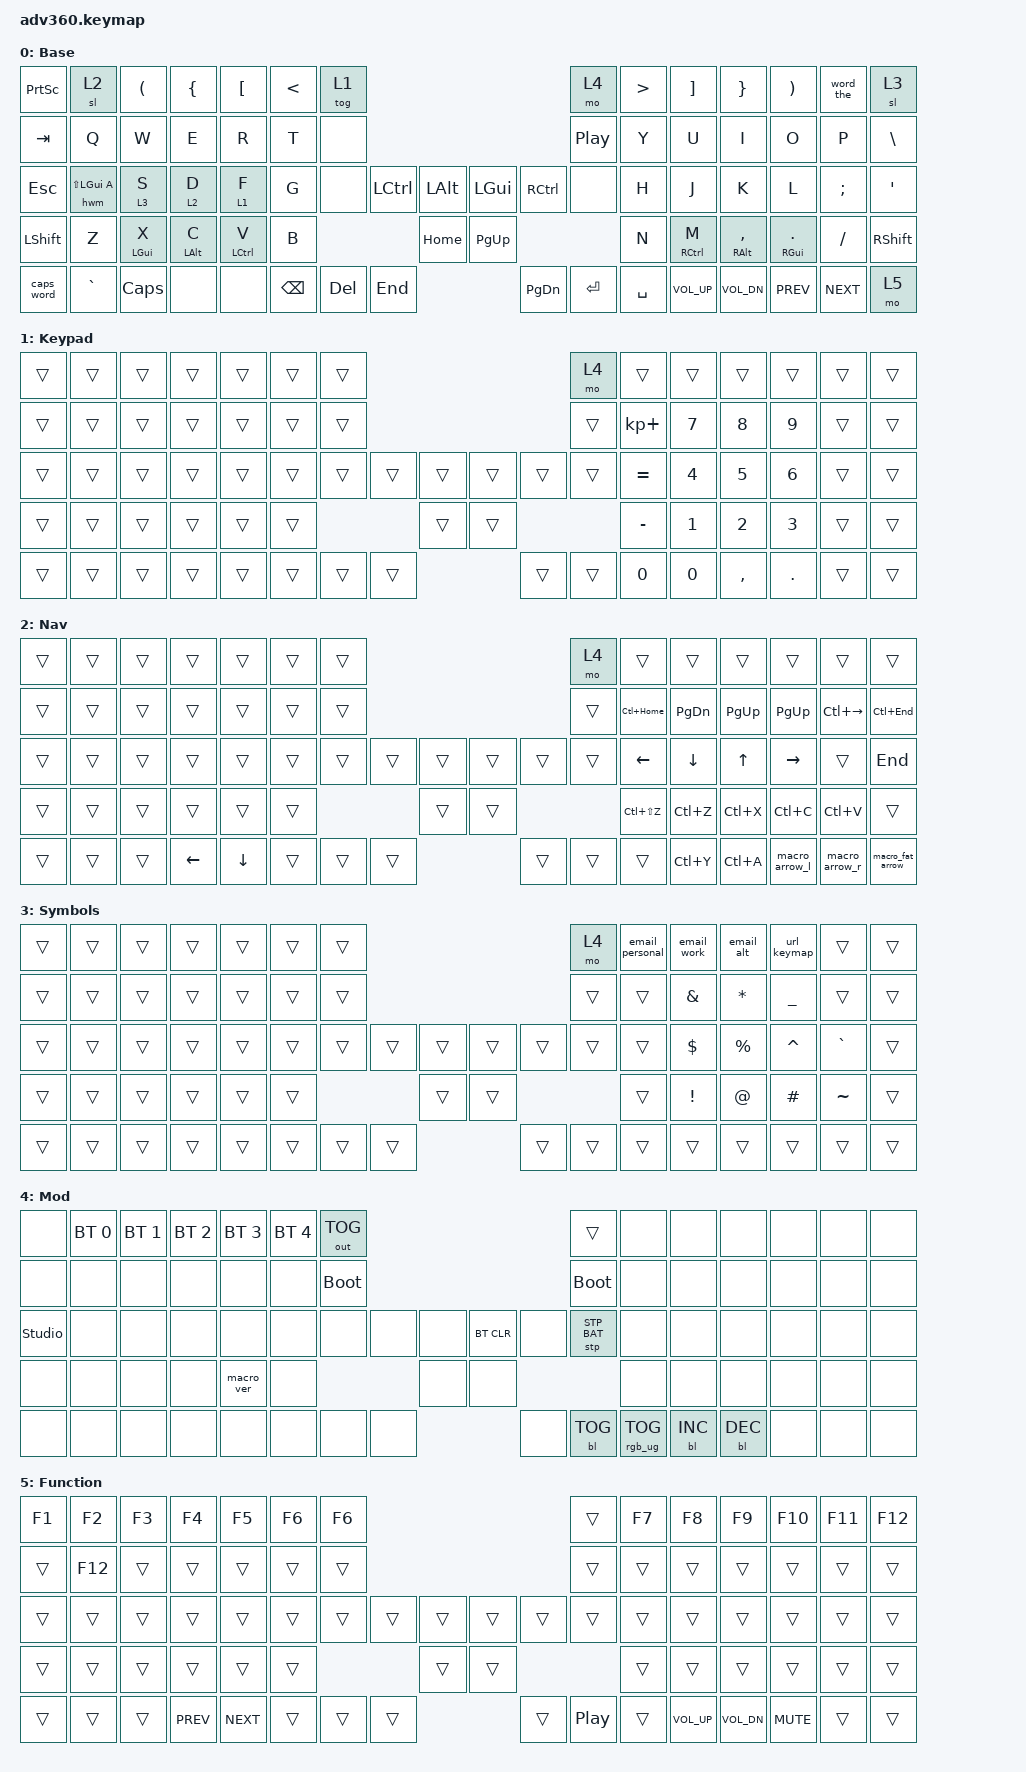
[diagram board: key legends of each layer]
#include "zmk-helpers/helper.h"
#include "zmk-helpers/key-labels/adv360.h"
#include <behaviors.dtsi>
#include <dt-bindings/zmk/outputs.h>
#include <dt-bindings/zmk/keys.h>
#include <dt-bindings/zmk/bt.h>
#include <dt-bindings/zmk/rgb.h>
#include <dt-bindings/zmk/stp.h>
#include <dt-bindings/zmk/backlight.h>
#include <dt-bindings/zmk/pointing.h>
#define KEYS_L LN0 LN1 LN2 LN3 LN4 LN5 LT0 LT1 LT2 LT3 LT4 LT5 LM0 LM1 LM2 LM3 LM4 LM5 LB0 LB1 LB2 LB3 LB4 LB5
#define KEYS_R RN0 RN1 RN2 RN3 RN4 RN5 RT0 RT1 RT2 RT3 RT4 RT5 RM0 RM1 RM2 RM3 RM4 RM5 RB0 RB1 RB2 RB3 RB4 RB5
#define THUMBS LH0 LH1 LH2 RH0 RH1 RH2

ZMK_HOLD_TAP(hml,
    flavor = "balanced";
    tapping-term-ms = <200>;
    quick-tap-ms = <120>;
    retro-tap;
    bindings = <&kp>, <&kp>;
    hold-trigger-key-positions = <KEYS_R THUMBS>;
    hold-trigger-on-release;
)

// Right-hand HRMs
ZMK_HOLD_TAP(hmr,
    flavor = "balanced";
    tapping-term-ms = <200>;
    quick-tap-ms = <120>;
    retro-tap;
    bindings = <&kp>, <&kp>;
    hold-trigger-key-positions = <KEYS_L THUMBS>;
    hold-trigger-on-release;
)

ZMK_HOLD_TAP(ltl,
    flavor = "balanced";
    tapping-term-ms = <200>;
    quick-tap-ms = <120>;
    retro-tap;
    bindings = <&mo>, <&kp>;
    hold-trigger-key-positions = <KEYS_R THUMBS>;
    hold-trigger-on-release;
)

// Super+Shift for Hyprland window moves. Tap gives the letter, hold gives the mods.
// tap-preferred ignores the position of the next key, unlike hml.
// This lets the key pair with the same-hand ltl layer taps on S, D and F.
ZMK_HOLD_TAP(hwm,
    flavor = "tap-preferred";
    tapping-term-ms = <200>;
    quick-tap-ms = <200>;
    bindings = <&kp>, <&kp>;
)

/ {
    behaviors {
      #include "macros.dtsi"
      #include "version.dtsi"

      hm: homerow_mods {
          compatible = "zmk,behavior-hold-tap";
          label = "HOMEROW_MODS";
          #binding-cells = <2>;
          tapping-term-ms = <200>;
          quick_tap_ms = <120>;
          flavor = "tap-preferred";
          bindings = <&kp>, <&kp>;
      };

      lt_s: layer_tap_symbols {
          compatible = "zmk,behavior-hold-tap";
          label = "LAYER_TAP_SYM";
          #binding-cells = <2>;
          tapping-term-ms = <200>;
          quick_tap_ms = <120>;
          flavor = "balanced";
          bindings = <&mo>, <&kp>;
      };

      lt_d: layer_tap_pairs {
          compatible = "zmk,behavior-hold-tap";
          label = "LAYER_TAP_PAIRS";
          #binding-cells = <2>;
          tapping-term-ms = <200>;
          quick_tap_ms = <120>;
          flavor = "balanced";
          bindings = <&mo>, <&kp>;
      };

      lt_f: layer_tap_keypad {
          compatible = "zmk,behavior-hold-tap";
          label = "LAYER_TAP_KEYPAD";
          #binding-cells = <2>;
          tapping-term-ms = <200>;
          quick_tap_ms = <120>;
          flavor = "balanced";
          bindings = <&mo>, <&kp>;
      };
    };

  keymap {
    compatible = "zmk,keymap";

    default_layer {
      display-name = "Base";
      bindings = <
        &kp PSCRN  &sl 2           &kp LPAR    &kp LBRC    &kp LBKT     &kp LT &tog 1                                                           &mo 4    &kp GT   &kp RBKT     &kp RBRC        &kp RPAR      &word_the   &sl 3
        &kp TAB    &kp Q           &kp W       &kp E       &kp R        &kp T  &none                                                            &kp C_PP &kp Y    &kp U        &kp I           &kp O         &kp P       &kp BSLH
        &kp ESC    &hwm LS(LGUI) A &ltl 3 S    &ltl 2 D    &ltl 1 F     &kp G  &none          &kp LCTRL &kp LALT &kp LGUI  &kp RCTRL            &none    &kp H    &kp J        &kp K           &kp L         &kp SEMI    &kp SQT
        &kp LSHFT  &kp Z           &hml LGUI X &hml LALT C &hml LCTRL V &kp B                           &kp HOME &kp PG_UP                               &kp N    &hmr RCTRL M &hmr RALT COMMA &hmr RGUI DOT &kp FSLH    &kp RSHFT
        &caps_word &kp GRAVE       &kp CAPS    &none       &none                       &kp BSPC &kp DEL &kp END  &kp PG_DN &kp ENTER &kp SPACE                    &kp C_VOL_UP &kp C_VOL_DN    &kp C_PREV    &kp C_NEXT  &mo 5
      >;
    };
    keypad {
      display-name = "Keypad";
      bindings = <
        &trans    &trans    &trans   &trans   &trans     &trans &trans                                                           &mo 4  &trans      &trans  &trans    &trans     &trans  &trans
        &trans    &trans    &trans   &trans   &trans     &trans &trans                                                           &trans &kp KP_PLUS &kp N7 &kp N8   &kp N9     &trans  &trans
        &trans    &trans    &trans   &trans   &trans     &trans &trans          &trans    &trans    &trans    &trans             &trans &kp EQUAL   &kp N4  &kp N5    &kp N6     &trans  &trans
        &trans    &trans    &trans   &trans   &trans     &trans                           &trans    &trans                              &kp MINUS   &kp N1  &kp N2    &kp N3     &trans  &trans
        &trans    &trans    &trans   &trans   &trans                   &trans    &trans   &trans    &trans    &trans    &kp N0                      &kp N0  &kp COMMA &kp DOT &trans  &trans
      >;
    };
    pairs {
      display-name = "Nav";
      bindings = <
        &trans    &trans    &trans    &trans    &trans    &trans &trans                                                           &mo 4  &trans        &trans         &trans       &trans           &trans           &trans
        &trans    &trans    &trans    &trans    &trans    &trans &trans                                                           &trans &kp LC(HOME)  &kp PG_DN      &kp PG_UP    &kp PG_UP        &kp LC(RIGHT)    &kp LC(END)
        &trans    &trans    &trans    &trans    &trans    &trans &trans          &trans    &trans    &trans    &trans             &trans &kp LEFT      &kp DOWN       &kp UP       &kp RIGHT        &trans           &kp END
        &trans    &trans    &trans    &trans    &trans    &trans                           &trans    &trans                              &kp LC(LS(Z)) &kp LC(Z)      &kp LC(X)    &kp LC(C)        &kp LC(V)        &trans
        &trans    &trans    &trans    &kp LEFT  &kp DOWN                &trans    &trans   &trans    &trans    &trans    &trans                        &kp LC(Y)      &kp LC(A)    &macro_arrow_l   &macro_arrow_r   &macro_fat_arrow
      >;
    };
    symbols {
      display-name = "Symbols";
      bindings = <
        &trans    &trans    &trans    &trans    &trans    &trans &trans                                                           &mo 4  &email_personal    &email_work &email_alt  &url_keymap &trans   &trans
        &trans    &trans    &trans    &trans    &trans    &trans &trans                                                           &trans &trans             &kp AMPS    &kp STAR    &kp UNDER   &trans      &trans
        &trans    &trans    &trans    &trans    &trans    &trans &trans          &trans    &trans    &trans    &trans             &trans &trans             &kp DLLR    &kp PRCNT   &kp CARET   &kp GRAVE   &trans
        &trans    &trans    &trans    &trans    &trans    &trans                           &trans    &trans                              &trans             &kp EXCL    &kp AT      &kp HASH    &kp TILDE   &trans
        &trans    &trans    &trans    &trans    &trans                   &trans    &trans  &trans    &trans    &trans    &trans                             &trans      &trans      &trans      &trans      &trans
      >;
    };
    mod {
      display-name = "Mod";
      bindings = <
        &none          &bt BT_SEL 0 &bt BT_SEL 1 &bt BT_SEL 2 &bt BT_SEL 3 &bt BT_SEL 4 &out OUT_TOG                                                                   &trans       &none        &none        &none        &none &none &none
        &none          &none        &none        &none        &none        &none        &bootloader                                                                    &bootloader  &none        &none        &none        &none &none &none
        &studio_unlock &none        &none        &none        &none        &none        &none                         &none &none  &bt BT_CLR &none                    &stp STP_BAT &none        &none        &none        &none &none &none
        &none          &none        &none        &none        &macro_ver   &none                                      &none        &none                                            &none        &none        &none        &none &none &none
        &none          &none        &none        &none        &none                                       &none &none &none        &none &bl BL_TOG &rgb_ug RGB_TOG                              &bl BL_INC   &bl BL_DEC   &none &none &none
      >;
    };
    function {
      display-name = "Function";
      bindings = <
        &kp F1    &kp F2    &kp F3    &kp F4    &kp F5    &kp F6  &kp F6                                                           &trans  &kp F7  &kp F8       &kp F9       &kp F10     &kp F11     &kp F12
        &trans    &kp F12   &trans    &trans    &trans    &trans  &trans                                                           &trans  &trans  &trans       &trans       &trans      &trans      &trans
        &trans    &trans    &trans    &trans    &trans    &trans  &trans            &trans  &trans    &trans    &trans             &trans  &trans  &trans       &trans       &trans      &trans      &trans
        &trans    &trans    &trans    &trans    &trans    &trans                            &trans    &trans                               &trans  &trans       &trans       &trans      &trans      &trans
        &trans    &trans    &trans    &kp C_PREV &kp C_NEXT               &trans    &trans  &trans    &trans    &kp C_PP   &trans                  &kp C_VOL_UP &kp C_VOL_DN &kp C_MUTE  &trans      &trans
      >;
    };
    extra1 { 
      display-name = "Red";    
      status = "reserved";
    };

    extra2 { 
      display-name = "Purple";    
      status = "reserved";
    };

    extra3 { 
      display-name = "Cyan";    
      status = "reserved";
    };

    extra4 { 
      display-name = "Yellow";    
      status = "reserved";
    };
  };
};
